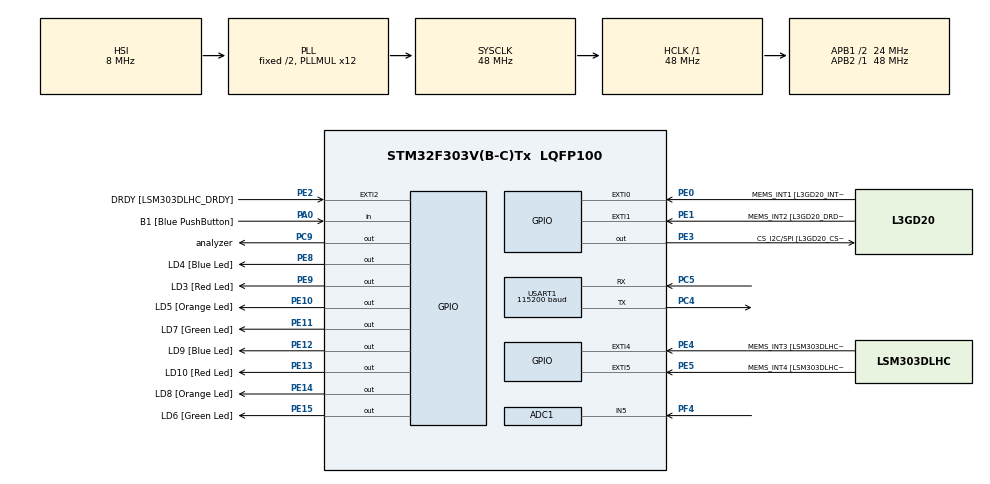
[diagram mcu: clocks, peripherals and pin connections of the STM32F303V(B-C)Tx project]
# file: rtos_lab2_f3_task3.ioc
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ADC1.Channel-0\#ChannelRegularConversion=ADC_CHANNEL_TEMPSENSOR
ADC1.Channel-1\#ChannelRegularConversion=ADC_CHANNEL_5
ADC1.ContinuousConvMode=DISABLE
ADC1.DMAContinuousRequests=ENABLE
ADC1.DiscontinuousConvMode=DISABLE
ADC1.ExternalTrigConv=ADC_EXTERNALTRIGCONV_T2_TRGO
ADC1.NbrOfConversion=2
ADC1.NbrOfConversionFlag=1
ADC1.Offset-0\#ChannelRegularConversion=0
ADC1.Offset-1\#ChannelRegularConversion=0
ADC1.OffsetNumber-0\#ChannelRegularConversion=ADC_OFFSET_NONE
ADC1.OffsetNumber-1\#ChannelRegularConversion=ADC_OFFSET_NONE
ADC1.Rank-0\#ChannelRegularConversion=1
ADC1.Rank-1\#ChannelRegularConversion=2
ADC1.SamplingTime-0\#ChannelRegularConversion=ADC_SAMPLETIME_181CYCLES_5
ADC1.SamplingTime-1\#ChannelRegularConversion=ADC_SAMPLETIME_181CYCLES_5
ADC1.SamplingTimeOPAMP-1\#ChannelRegularConversion=ADC_SAMPLETIME_19CYCLES_5
ADC1.master=1
Dma.ADC1.0.Direction=DMA_PERIPH_TO_MEMORY
Dma.ADC1.0.Instance=DMA1_Channel1
Dma.ADC1.0.MemDataAlignment=DMA_MDATAALIGN_HALFWORD
Dma.ADC1.0.MemInc=DMA_MINC_ENABLE
Dma.ADC1.0.Mode=DMA_CIRCULAR
Dma.ADC1.0.PeriphDataAlignment=DMA_PDATAALIGN_HALFWORD
Dma.ADC1.0.PeriphInc=DMA_PINC_DISABLE
Dma.ADC1.0.Priority=DMA_PRIORITY_LOW
Dma.Request0=ADC1
FREERTOS.Queues01=dataQueue,10,uint32_t,0,Dynamic,NULL,NULL;UART_queue,10,uint32_t,0,Dynamic,NULL,NULL
FREERTOS.Tasks01=defaultTask,24,128,StartDefaultTask,Default,NULL,Dynamic,NULL,NULL;dataTask,24,128,StartDataTask,Default,NULL,Dynamic,NULL,NULL;UART_task,24,128,StartUART_task,Default,NULL,Dynamic,NULL,NULL
Mcu.Family=STM32F3
Mcu.Name=STM32F303V(B-C)Tx
Mcu.Package=LQFP100
NVIC.DMA1_Channel1_IRQn=true\:5\:0\:false\:false\:true\:true\:false\:true\:true
NVIC.PriorityGroup=NVIC_PRIORITYGROUP_4
NVIC.TIM1_UP_TIM16_IRQn=true\:15\:0\:false\:false\:true\:false\:false\:true\:true
NVIC.TIM2_IRQn=true\:5\:0\:false\:false\:true\:true\:true\:true\:true
NVIC.TimeBase=TIM1_UP_TIM16_IRQn
NVIC.TimeBaseIP=TIM1
PA0.GPIO_Label=B1 [Blue PushButton]
PA0.GPIO_Mode=GPIO_MODE_INPUT
PA0.GPIO_PuPd=GPIO_NOPULL
PA0.Signal=GPIO_Input
PA11.GPIO_Label=DM
PA11.Signal=USB_DM
PA12.GPIO_Label=DP
PA12.Signal=USB_DP
PA13.GPIO_Label=SWDIO
PA13.Signal=SYS_JTMS-SWDIO
PA14.GPIO_Label=SWCLK
PA14.Signal=SYS_JTCK-SWCLK
PA5.GPIO_Label=SPI1_SCK [L3GD20_SCL/SPC]
PA5.GPIO_Mode=GPIO_MODE_AF_PP
PA5.GPIO_PuPd=GPIO_NOPULL
PA5.GPIO_Speed=GPIO_SPEED_FREQ_LOW
PA5.Signal=SPI1_SCK
PA6.GPIO_Label=SPI1_MISO [L3GD20_SA0/SDO]
PA6.GPIO_Mode=GPIO_MODE_AF_PP
PA6.GPIO_PuPd=GPIO_NOPULL
PA6.GPIO_Speed=GPIO_SPEED_FREQ_LOW
PA6.Signal=SPI1_MISO
PA7.GPIO_Label=SPI1_MISO [L3GD20_SDA/SDI/SDO]
PA7.GPIO_Mode=GPIO_MODE_AF_PP
PA7.GPIO_PuPd=GPIO_NOPULL
PA7.GPIO_Speed=GPIO_SPEED_FREQ_LOW
PA7.Signal=SPI1_MOSI
PB3.GPIO_Label=SWO
PB3.Signal=SYS_JTDO-TRACESWO
PB6.GPIO_FM6=__NULL
PB6.GPIO_Label=I2C1_SCL [LSM303DLHC_SCL]
PB6.GPIO_Mode=GPIO_MODE_AF_OD
PB6.GPIO_PuPd=GPIO_NOPULL
PB6.GPIO_Speed=GPIO_SPEED_FREQ_LOW
PB6.Signal=I2C1_SCL
PB7.GPIO_FM7=__NULL
PB7.GPIO_Label=I2C1_SDA [LSM303DLHC_SDA]
PB7.GPIO_Mode=GPIO_MODE_AF_OD
PB7.GPIO_PuPd=GPIO_NOPULL
PB7.GPIO_Speed=GPIO_SPEED_FREQ_LOW
PB7.Signal=I2C1_SDA
PC14-OSC32_IN.GPIO_Label=OSC32_IN
PC14-OSC32_IN.Signal=RCC_OSC32_IN
PC15-OSC32_OUT.GPIO_Label=OSC32_OUT
PC15-OSC32_OUT.Signal=RCC_OSC32_OUT
PC4.Mode=Asynchronous
PC4.Signal=USART1_TX
PC5.Mode=Asynchronous
PC5.Signal=USART1_RX
PC9.GPIO_Label=analyzer
PC9.Signal=GPIO_Output
PE0.GPIO_Label=MEMS_INT1 [L3GD20_INT1]
PE0.GPIO_ModeDefaultEXTI=GPIO_MODE_EVT_RISING
PE0.GPIO_PuPd=GPIO_NOPULL
PE0.Signal=GPXTI0
PE1.GPIO_Label=MEMS_INT2 [L3GD20_DRDY/INT2]
PE1.GPIO_ModeDefaultEXTI=GPIO_MODE_EVT_RISING
PE1.GPIO_PuPd=GPIO_NOPULL
PE1.Signal=GPXTI1
PE10.GPIO_Label=LD5 [Orange Led]
PE10.GPIO_ModeDefaultOutputPP=GPIO_MODE_OUTPUT_PP
PE10.GPIO_PuPd=GPIO_NOPULL
PE10.GPIO_Speed=GPIO_SPEED_FREQ_LOW
PE10.Signal=GPIO_Output
PE11.GPIO_Label=LD7 [Green Led]
PE11.GPIO_ModeDefaultOutputPP=GPIO_MODE_OUTPUT_PP
PE11.GPIO_PuPd=GPIO_NOPULL
PE11.GPIO_Speed=GPIO_SPEED_FREQ_LOW
PE11.Signal=GPIO_Output
PE12.GPIO_Label=LD9 [Blue Led]
PE12.GPIO_ModeDefaultOutputPP=GPIO_MODE_OUTPUT_PP
PE12.GPIO_PuPd=GPIO_NOPULL
PE12.GPIO_Speed=GPIO_SPEED_FREQ_LOW
PE12.Signal=GPIO_Output
PE13.GPIO_Label=LD10 [Red Led]
PE13.GPIO_ModeDefaultOutputPP=GPIO_MODE_OUTPUT_PP
PE13.GPIO_PuPd=GPIO_NOPULL
PE13.GPIO_Speed=GPIO_SPEED_FREQ_LOW
PE13.Signal=GPIO_Output
PE14.GPIO_Label=LD8 [Orange Led]
PE14.GPIO_ModeDefaultOutputPP=GPIO_MODE_OUTPUT_PP
PE14.GPIO_PuPd=GPIO_NOPULL
PE14.GPIO_Speed=GPIO_SPEED_FREQ_LOW
PE14.Signal=GPIO_Output
PE15.GPIO_Label=LD6 [Green Led]
PE15.GPIO_ModeDefaultOutputPP=GPIO_MODE_OUTPUT_PP
PE15.GPIO_PuPd=GPIO_NOPULL
PE15.GPIO_Speed=GPIO_SPEED_FREQ_LOW
PE15.Signal=GPIO_Output
PE2.GPIO_Label=DRDY [LSM303DLHC_DRDY]
PE2.GPIO_ModeDefaultEXTI=GPIO_MODE_EVT_RISING
PE2.GPIO_PuPd=GPIO_NOPULL
PE2.Signal=GPXTI2
PE3.GPIO_Label=CS_I2C/SPI [L3GD20_CS_I2C/SPI]
PE3.GPIO_ModeDefaultOutputPP=GPIO_MODE_OUTPUT_PP
PE3.GPIO_PuPd=GPIO_NOPULL
PE3.GPIO_Speed=GPIO_SPEED_FREQ_LOW
PE3.Signal=GPIO_Output
PE4.GPIO_Label=MEMS_INT3 [LSM303DLHC_INT1]
PE4.GPIO_ModeDefaultEXTI=GPIO_MODE_EVT_RISING
PE4.GPIO_PuPd=GPIO_NOPULL
PE4.Signal=GPXTI4
PE5.GPIO_Label=MEMS_INT4 [LSM303DLHC_INT2]
PE5.GPIO_ModeDefaultEXTI=GPIO_MODE_EVT_RISING
PE5.GPIO_PuPd=GPIO_NOPULL
PE5.Signal=GPXTI5
PE8.GPIO_Label=LD4 [Blue Led]
PE8.GPIO_ModeDefaultOutputPP=GPIO_MODE_OUTPUT_PP
PE8.GPIO_PuPd=GPIO_NOPULL
PE8.GPIO_Speed=GPIO_SPEED_FREQ_LOW
PE8.Signal=GPIO_Output
PE9.GPIO_Label=LD3 [Red Led]
PE9.GPIO_ModeDefaultOutputPP=GPIO_MODE_OUTPUT_PP
PE9.GPIO_PuPd=GPIO_NOPULL
PE9.GPIO_Speed=GPIO_SPEED_FREQ_LOW
PE9.Signal=GPIO_Output
PF0-OSC_IN.GPIO_Label=OSC_IN
PF0-OSC_IN.Signal=RCC_OSC_IN
PF1-OSC_OUT.GPIO_Label=OSC_OUT
PF1-OSC_OUT.Signal=RCC_OSC_OUT
PF4.Mode=IN5-Single-Ended
PF4.Signal=ADC1_IN5
ProjectManager.HeapSize=0x200
ProjectManager.StackSize=0x400
ProjectManager.TargetToolchain=STM32CubeIDE
RCC.AHBFreq_Value=48000000
RCC.APB1CLKDivider=RCC_HCLK_DIV2
RCC.APB1Freq_Value=24000000
RCC.APB1TimFreq_Value=48000000
RCC.APB2Freq_Value=48000000
RCC.APB2TimFreq_Value=48000000
RCC.CortexFreq_Value=48000000
RCC.HCLKFreq_Value=48000000
RCC.HSE_VALUE=8000000
RCC.HSI_VALUE=8000000
RCC.LSE_VALUE=32768
RCC.PLLMUL=RCC_PLL_MUL12
RCC.SYSCLKFreq_VALUE=48000000
RCC.SYSCLKSourceVirtual=RCC_SYSCLKSOURCE_PLLCLK
RCC.USBFreq_Value=48000000
STMicroelectronics.X-CUBE-ALGOBUILD.1.3.0.LibraryCcDSPOoLibraryJjDSPOoLibrary=true
TIM2.Period=1000
TIM2.Prescaler=48000-1
TIM2.TIM_MasterOutputTrigger=TIM_TRGO_UPDATE
USART1.BaudRate=115200
USART1.VirtualMode-Asynchronous=VM_ASYNC
VP_ADC1_TempSens_Input.Mode=IN-TempSens
VP_FREERTOS_VS_CMSIS_V2.Mode=CMSIS_V2
VP_STMicroelectronics.X-CUBE-ALGOBUILD_VS_DSPOoLibraryJjLibrary_1.3.0_1.3.0.Mode=DSPOoLibraryJjLibrary
VP_SYS_VS_tim1.Mode=TIM1
VP_TIM2_VS_ClockSourceINT.Mode=Internal
board=STM32F3DISCOVERY

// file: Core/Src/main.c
/* USER CODE BEGIN Header */
/**
  ******************************************************************************
  * @file           : main.c
  * @brief          : Main program body
  ******************************************************************************
  * @attention
  *
  * Copyright (c) 2023 STMicroelectronics.
  * All rights reserved.
  *
  * This software is licensed under terms that can be found in the LICENSE file
  * in the root directory of this software component.
  * If no LICENSE file comes with this software, it is provided AS-IS.
  *
  ******************************************************************************
  */
/* USER CODE END Header */
#include "main.h"
#include "cmsis_os.h"
#include "adc.h"
#include "dma.h"
#include "tim.h"
#include "usart.h"
#include "gpio.h"

/* USER CODE BEGIN Includes */
#include "freertos.h"
/* USER CODE END Includes */

/* USER CODE BEGIN PV */
extern dataStruct measuredData;
extern osMessageQueueId_t dataQueueHandle;
uint16_t dmaBuffer[2];
/* USER CODE END PV */

void SystemClock_Config(void);
void MX_FREERTOS_Init(void);

/* USER CODE BEGIN 0 */
#ifdef __GNUC__
#define PUTCHAR_PROTOTYPE int __io_putchar(int ch)
#else
#define PUTCHAR_PROTOTYPE int fputc(int ch, FILE *f)
#endif

PUTCHAR_PROTOTYPE
{
  HAL_UART_Transmit(&huart1, (uint8_t *)&ch, 1, 10);
  return ch;
}
/* USER CODE END 0 */

int main(void)
{

  /* MCU Configuration--------------------------------------------------------*/

  /* Reset of all peripherals, Initializes the Flash interface and the Systick. */
  HAL_Init();

  /* Configure the system clock */
  SystemClock_Config();

  /* Initialize all configured peripherals */
  MX_GPIO_Init();
  MX_DMA_Init();
  MX_ADC1_Init();
  MX_TIM2_Init();
  MX_USART1_UART_Init();
  /* USER CODE BEGIN 2 */
  //HAL_TIM_Base_Start(&htim2);
  HAL_TIM_Base_Start_IT(&htim2);
  HAL_ADC_Start_DMA(&hadc1, (uint32_t*)dmaBuffer, 2);
  /* USER CODE END 2 */

  /* Init scheduler */
  osKernelInitialize();  /* Call init function for freertos objects (in freertos.c) */
  MX_FREERTOS_Init();

  /* Start scheduler */
  osKernelStart();

  /* We should never get here as control is now taken by the scheduler */
  /* Infinite loop */
  while (1)
  {

  }
}

void SystemClock_Config(void)
{
  RCC_OscInitTypeDef RCC_OscInitStruct = {0};
  RCC_ClkInitTypeDef RCC_ClkInitStruct = {0};
  RCC_PeriphCLKInitTypeDef PeriphClkInit = {0};

  /** Initializes the RCC Oscillators according to the specified parameters
  * in the RCC_OscInitTypeDef structure.
  */
  RCC_OscInitStruct.OscillatorType = RCC_OSCILLATORTYPE_HSI;
  RCC_OscInitStruct.HSIState = RCC_HSI_ON;
  RCC_OscInitStruct.HSICalibrationValue = RCC_HSICALIBRATION_DEFAULT;
  RCC_OscInitStruct.PLL.PLLState = RCC_PLL_ON;
  RCC_OscInitStruct.PLL.PLLSource = RCC_PLLSOURCE_HSI;
  RCC_OscInitStruct.PLL.PLLMUL = RCC_PLL_MUL12;
  if (HAL_RCC_OscConfig(&RCC_OscInitStruct) != HAL_OK)
  {
    Error_Handler();
  }

  /** Initializes the CPU, AHB and APB buses clocks
  */
  RCC_ClkInitStruct.ClockType = RCC_CLOCKTYPE_HCLK|RCC_CLOCKTYPE_SYSCLK
                              |RCC_CLOCKTYPE_PCLK1|RCC_CLOCKTYPE_PCLK2;
  RCC_ClkInitStruct.SYSCLKSource = RCC_SYSCLKSOURCE_PLLCLK;
  RCC_ClkInitStruct.AHBCLKDivider = RCC_SYSCLK_DIV1;
  RCC_ClkInitStruct.APB1CLKDivider = RCC_HCLK_DIV2;
  RCC_ClkInitStruct.APB2CLKDivider = RCC_HCLK_DIV1;

  if (HAL_RCC_ClockConfig(&RCC_ClkInitStruct, FLASH_LATENCY_1) != HAL_OK)
  {
    Error_Handler();
  }
  PeriphClkInit.PeriphClockSelection = RCC_PERIPHCLK_USART1|RCC_PERIPHCLK_ADC12;
  PeriphClkInit.Usart1ClockSelection = RCC_USART1CLKSOURCE_PCLK2;
  PeriphClkInit.Adc12ClockSelection = RCC_ADC12PLLCLK_DIV1;
  if (HAL_RCCEx_PeriphCLKConfig(&PeriphClkInit) != HAL_OK)
  {
    Error_Handler();
  }
}

/* USER CODE BEGIN 4 */

void HAL_ADC_ConvHalfCpltCallback(ADC_HandleTypeDef* AdcHandle)
{
	uint16_t tempRaw = 0;
	float avg_slope = 4.3;
	uint16_t V25 = 1430;

	if (AdcHandle == &hadc1)
	{
		tempRaw = dmaBuffer[0];
		measuredData.tempValue = (uint16_t)((V25 - tempRaw) / avg_slope) + 25;
	}
}

void HAL_ADC_ConvCpltCallback(ADC_HandleTypeDef* AdcHandle)
{
	uint16_t freqRaw = 0;

	if (AdcHandle == &hadc1)
	{

		freqRaw = dmaBuffer[1];
		measuredData.freqValue = freqRaw;
		osMessageQueuePut(dataQueueHandle, &measuredData, 0, 0);
	}
}
/* USER CODE END 4 */

void HAL_TIM_PeriodElapsedCallback(TIM_HandleTypeDef *htim)
{
  if (htim->Instance == TIM1) {
    HAL_IncTick();
  }
}

void Error_Handler(void)
{
  __disable_irq();
  while (1)
  {
  }
}

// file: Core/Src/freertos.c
/* USER CODE BEGIN Header */
/**
  ******************************************************************************
  * File Name          : freertos.c
  * Description        : Code for freertos applications
  ******************************************************************************
  * @attention
  *
  * Copyright (c) 2023 STMicroelectronics.
  * All rights reserved.
  *
  * This software is licensed under terms that can be found in the LICENSE file
  * in the root directory of this software component.
  * If no LICENSE file comes with this software, it is provided AS-IS.
  *
  ******************************************************************************
  */
/* USER CODE END Header */

#include "FreeRTOS.h"
#include "task.h"
#include "main.h"
#include "cmsis_os.h"

/* USER CODE BEGIN Includes */
#include "adc.h"
/* USER CODE END Includes */

/* USER CODE BEGIN Variables */
dataStruct measuredData;
dataStruct rcvMessage;
uint16_t average;
/* USER CODE END Variables */
/* Definitions for defaultTask */
osThreadId_t defaultTaskHandle;
const osThreadAttr_t defaultTask_attributes = {
  .name = "defaultTask",
  .stack_size = 128 * 4,
  .priority = (osPriority_t) osPriorityNormal,
};
/* Definitions for dataTask */
osThreadId_t dataTaskHandle;
const osThreadAttr_t dataTask_attributes = {
  .name = "dataTask",
  .stack_size = 128 * 4,
  .priority = (osPriority_t) osPriorityNormal,
};
/* Definitions for UART_task */
osThreadId_t UART_taskHandle;
const osThreadAttr_t UART_task_attributes = {
  .name = "UART_task",
  .stack_size = 128 * 4,
  .priority = (osPriority_t) osPriorityNormal,
};
/* Definitions for dataQueue */
osMessageQueueId_t dataQueueHandle;
const osMessageQueueAttr_t dataQueue_attributes = {
  .name = "dataQueue"
};
/* Definitions for UART_queue */
osMessageQueueId_t UART_queueHandle;
const osMessageQueueAttr_t UART_queue_attributes = {
  .name = "UART_queue"
};

void StartDefaultTask(void *argument);
void StartDataTask(void *argument);
void StartUART_task(void *argument);

void MX_FREERTOS_Init(void); /* (MISRA C 2004 rule 8.1) */

void MX_FREERTOS_Init(void) {

  /* Create the queue(s) */
  /* creation of dataQueue */
  dataQueueHandle = osMessageQueueNew (10, sizeof(uint32_t), &dataQueue_attributes);

  /* creation of UART_queue */
  UART_queueHandle = osMessageQueueNew (10, sizeof(uint32_t), &UART_queue_attributes);

  /* Create the thread(s) */
  /* creation of defaultTask */
  defaultTaskHandle = osThreadNew(StartDefaultTask, NULL, &defaultTask_attributes);

  /* creation of dataTask */
  dataTaskHandle = osThreadNew(StartDataTask, NULL, &dataTask_attributes);

  /* creation of UART_task */
  UART_taskHandle = osThreadNew(StartUART_task, NULL, &UART_task_attributes);

}

void StartDefaultTask(void *argument)
{
  for(;;)
  {
    osDelay(1);
  }
}

void StartDataTask(void *argument)
{
  /* USER CODE BEGIN StartDataTask */
  uint32_t count = 0;
  uint32_t sum = 0;
  /* Infinite loop */
  for(;;)
  {
	if (osMessageQueueGetCount(dataQueueHandle) != 0)
	{
		HAL_GPIO_WritePin(analyzer_GPIO_Port, analyzer_Pin, GPIO_PIN_SET);
		osMessageQueueGet(dataQueueHandle, &rcvMessage, 0, 0);
		sum += rcvMessage.tempValue;
		count++;
		average = sum/count;
		osMessageQueuePut(UART_queueHandle, &average, 0, 0);
		HAL_GPIO_WritePin(analyzer_GPIO_Port, analyzer_Pin, GPIO_PIN_RESET);
	}
    osDelay(1);
  }
  /* USER CODE END StartDataTask */
}

void StartUART_task(void *argument)
{
  /* USER CODE BEGIN StartUART_task */
  uint16_t dataToPrint;
  /* Infinite loop */
  for(;;)
  {
    if (osMessageQueueGetCount(UART_queueHandle) != 0)
	{
	  osMessageQueueGet(UART_queueHandle, &dataToPrint, 0, 0);
	  printf("average temp: %d\n\r", dataToPrint);
	}
    osDelay(1);
  }
  /* USER CODE END StartUART_task */
}
